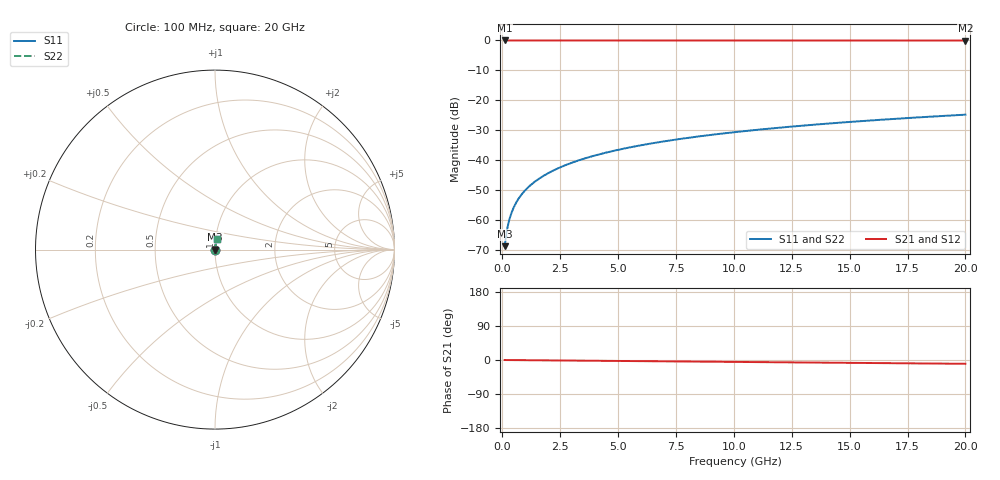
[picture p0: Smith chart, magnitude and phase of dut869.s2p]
! Touchstone file exported from HFSS 2026.1.0
!  File:  C:/ffzhzh/LocalFiles/Ansys_Project_Files/temp_train_TSV_869_1783185523_43440.aedt
!  Generated:  01:20:29 AM Jul  5, 2026
!  Design:  TSV
!  Project:  temp_train_TSV_869_1783185523_43440
! Variables:
!  h_bsmrdl = 2um
!  h_ox = 20um
!  h_rdl = 5um
!  h_sub = 91.22um
!  h_tmrdl = 5um
!  h_tsv = 91.22um
!  h_via = 3um
!  l_bsmrdl = 300um
!  l_sub = 418.72um
!  l_tmrdl = 200um
!  m_sub = 200um
!  pitch = 58.62um
!  r_tsv = 9.36um
!  s_tmrdl = 10um
!  w_bsmrdl = 18um
!  w_sub = 500um
!  w_tmrdl = 12um
!  x_tsv_center1 = 206um
!  x_tsv_center2 = 524um
!  x_tsv_center3 = 736um
!  x_tsv_center4 = 1054um
!  x_tsv_center5 = 1266um
!  x_tsv_center6 = 1584um
# GHz S MA R 50.000000
! Terminal data exported
! Port[1] = TSV1_1_T1
! Port[2] = TSV1_1_T2
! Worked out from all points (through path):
!   200 points, 100 MHz to 20 GHz, reference 50 ohm
!   highest |S21| = 0.00 dB at 100 MHz (marker M1); lowest = 0.0 dB at 20 GHz (marker M2)
!   group delay of S21, straight-line fit = 1.39 ps
!   lowest |S11| = -68.7 dB at 100 MHz (marker M3), VSWR 1.00, Z = 50 + j0.0335 ohm
!   |S11| at or under -10 dB: start of sweep to end of sweep
!   |S22| runs from -68.7 to -24.8 dB; largest |S21 - S12| = 1.6e-15
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0.1  0.0003679 65.5  0.9998 -0.1  0.9998 -0.1  0.0003679 65.5
! Gamma 0 0 0 0
! Port Impedance 50 0 50 0
0.2  0.0006873 76.2  0.9998 -0.1  0.9998 -0.1  0.0006873 76.2
0.3  0.001012 79.6  0.9998 -0.2  0.9998 -0.2  0.001012 79.6
0.4  0.001335 81.1  0.9998 -0.2  0.9998 -0.2  0.001335 81.1
0.5  0.001653 82.0  0.9998 -0.3  0.9998 -0.3  0.001653 82.0
0.6  0.001967 82.4  0.9998 -0.3  0.9998 -0.3  0.001967 82.4
0.7  0.002276 82.8  0.9997 -0.4  0.9997 -0.4  0.002276 82.8
0.8  0.002581 83.0  0.9997 -0.4  0.9997 -0.4  0.002581 83.0
1  0.003184 83.4  0.9997 -0.5  0.9997 -0.5  0.003184 83.4
1.4  0.004372 84.0  0.9996 -0.7  0.9996 -0.7  0.004372 84.0
1.7  0.005257 84.4  0.9995 -0.9  0.9995 -0.9  0.005257 84.4
2  0.00614 84.6  0.9995 -1.0  0.9995 -1.0  0.00614 84.6
2.7  0.008199 84.9  0.9994 -1.4  0.9994 -1.4  0.008199 84.9
3.5  0.01055 85.0  0.9993 -1.8  0.9993 -1.8  0.01055 85.0
4.2  0.01259 84.9  0.9993 -2.1  0.9993 -2.1  0.01259 84.9
5  0.01493 84.7  0.9992 -2.5  0.9992 -2.5  0.01493 84.7
6.8  0.02014 84.2  0.999 -3.4  0.999 -3.4  0.02014 84.2
8.3  0.02447 83.6  0.9988 -4.2  0.9988 -4.2  0.02447 83.6
10.1  0.02963 82.9  0.9985 -5.1  0.9985 -5.1  0.02963 82.9
13.4  0.03906 81.6  0.9981 -6.7  0.9981 -6.7  0.03906 81.6
16.7  0.04841 80.1  0.9975 -8.4  0.9975 -8.4  0.04841 80.1
20  0.05766 78.6  0.9969 -10.0  0.9969 -10.0  0.05766 78.6
